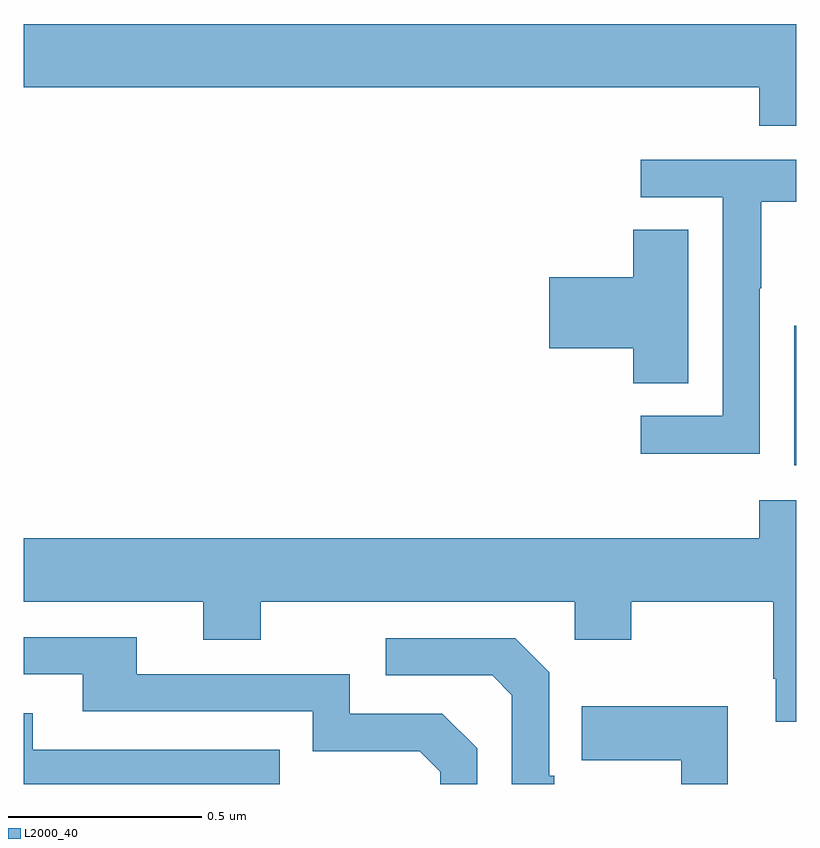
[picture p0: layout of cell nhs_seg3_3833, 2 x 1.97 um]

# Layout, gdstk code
import gdstk
lib = gdstk.Library(unit=1e-6, precision=1e-09)
def R(c, l, rs):  # rectangles x0, y0, x1, y1
    for r in rs: c.add(gdstk.rectangle(r[:2], r[2:], *l))
def P(c, l, *ps):  # polygons
    for p in ps: c.add(gdstk.Polygon(p, *l))
L2000_40 = (2000, 40)

nhs_seg3_3833 = lib.new_cell('nhs_seg3_3833')
R(nhs_seg3_3833, L2000_40, [(159.995,745.226,160,745.587)])
P(nhs_seg3_3833, L2000_40, [(160,746.368),(158,746.368),(158,746.204),(159.905,746.204),(159.905,746.105),(160,746.105)],
  [(159.906,745.684),(159.909,745.684),(159.909,745.908),(160,745.908),(160,746.016),(159.597,746.016),(159.597,745.92),(159.81,745.92),(159.81,745.353),(159.597,745.353),(159.597,745.255),(159.906,745.255)],
  [(159.721,745.835),(159.578,745.835),(159.578,745.712),(159.36,745.712),(159.36,745.529),(159.578,745.529),(159.578,745.438),(159.721,745.438)],
  [(160,745.135),(159.905,745.135),(159.905,745.036),(158,745.036),(158,744.872),(158.465,744.872),(158.465,744.773),(158.613,744.773),(158.613,744.872),(159.426,744.872),(159.426,744.773),(159.573,744.773),(159.573,744.872),(159.94,744.872),(159.94,744.673),(159.947,744.673),(159.947,744.561),(160,744.561)],
  [(159.174,744.492),(159.084,744.582),(158.844,744.582),(158.844,744.684),(158.293,744.684),(158.293,744.78),(158,744.78),(158,744.684),(158.153,744.684),(158.153,744.588),(158.748,744.588),(158.748,744.485),(159.025,744.485),(159.078,744.432),(159.078,744.4),(159.174,744.4)],
  [(159.373,744.421),(159.36,744.421),(159.36,744.69),(159.273,744.777),(158.937,744.777),(158.937,744.681),(159.213,744.681),(159.264,744.63),(159.264,744.4),(159.373,744.4)],
  [(159.823,744.601),(159.445,744.601),(159.445,744.461),(159.702,744.461),(159.702,744.4),(159.823,744.4)],
  [(158.663,744.489),(158.023,744.489),(158.023,744.583),(158,744.583),(158,744.4),(158.663,744.4)])

lib.write_gds('nhs_seg3_3833.gds')
